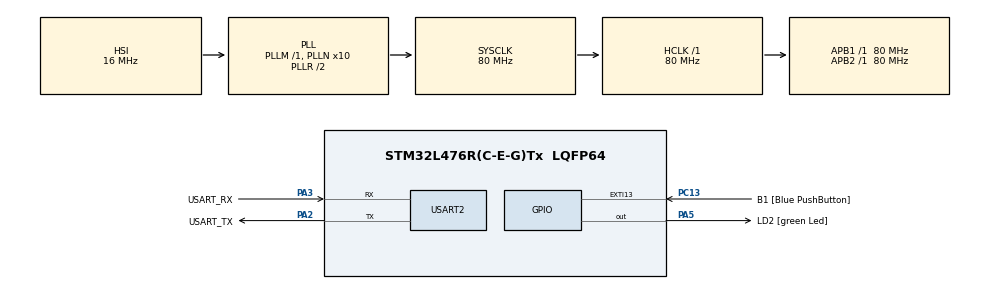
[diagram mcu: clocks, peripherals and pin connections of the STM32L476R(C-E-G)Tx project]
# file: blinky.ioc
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Mcu.Family=STM32L4
Mcu.Name=STM32L476R(C-E-G)Tx
Mcu.Package=LQFP64
NVIC.PriorityGroup=NVIC_PRIORITYGROUP_4
PA13\ (JTMS-SWDIO).GPIO_Label=TMS
PA13\ (JTMS-SWDIO).Mode=Serial_Wire
PA13\ (JTMS-SWDIO).Signal=SYS_JTMS-SWDIO
PA14\ (JTCK-SWCLK).GPIO_Label=TCK
PA14\ (JTCK-SWCLK).Mode=Serial_Wire
PA14\ (JTCK-SWCLK).Signal=SYS_JTCK-SWCLK
PA2.GPIO_Label=USART_TX
PA2.GPIO_Mode=GPIO_MODE_AF_PP
PA2.GPIO_PuPd=GPIO_NOPULL
PA2.GPIO_Speed=GPIO_SPEED_FREQ_VERY_HIGH
PA2.Mode=Asynchronous
PA2.Signal=USART2_TX
PA3.GPIO_Label=USART_RX
PA3.GPIO_Mode=GPIO_MODE_AF_PP
PA3.GPIO_PuPd=GPIO_NOPULL
PA3.GPIO_Speed=GPIO_SPEED_FREQ_VERY_HIGH
PA3.Mode=Asynchronous
PA3.Signal=USART2_RX
PA5.GPIO_Label=LD2 [green Led]
PA5.GPIO_ModeDefaultOutputPP=GPIO_MODE_OUTPUT_PP
PA5.GPIO_PuPd=GPIO_NOPULL
PA5.GPIO_Speed=GPIO_SPEED_FREQ_LOW
PA5.Signal=GPIO_Output
PB3\ (JTDO-TRACESWO).GPIO_Label=SWO
PB3\ (JTDO-TRACESWO).Signal=SYS_JTDO-SWO
PC13.GPIO_Label=B1 [Blue PushButton]
PC13.GPIO_ModeDefaultEXTI=GPIO_MODE_IT_FALLING
PC13.GPIO_PuPd=GPIO_NOPULL
PC13.Signal=GPXTI13
PC14-OSC32_IN\ (PC14).Mode=LSE-External-Oscillator
PC14-OSC32_IN\ (PC14).Signal=RCC_OSC32_IN
PC15-OSC32_OUT\ (PC15).Mode=LSE-External-Oscillator
PC15-OSC32_OUT\ (PC15).Signal=RCC_OSC32_OUT
PH0-OSC_IN\ (PH0).Signal=RCC_OSC_IN
PH1-OSC_OUT\ (PH1).Signal=RCC_OSC_OUT
ProjectManager.HeapSize=0x200
ProjectManager.StackSize=0x400
ProjectManager.TargetToolchain=Makefile
RCC.ADCFreq_Value=64000000
RCC.AHBFreq_Value=80000000
RCC.APB1Freq_Value=80000000
RCC.APB1TimFreq_Value=80000000
RCC.APB2Freq_Value=80000000
RCC.APB2TimFreq_Value=80000000
RCC.CortexFreq_Value=80000000
RCC.HCLKFreq_Value=80000000
RCC.HSE_VALUE=8000000
RCC.HSI_VALUE=16000000
RCC.MSI_VALUE=4000000
RCC.PLLN=10
RCC.PLLSourceVirtual=RCC_PLLSOURCE_HSI
RCC.PREFETCH_ENABLE=1
RCC.SYSCLKFreq_VALUE=80000000
RCC.SYSCLKSource=RCC_SYSCLKSOURCE_PLLCLK
RCC.USBFreq_Value=64000000
RCC.VCOOutputFreq_Value=160000000
USART2.VirtualMode-Asynchronous=VM_ASYNC
board=NUCLEO-L476RG

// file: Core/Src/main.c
/* USER CODE BEGIN Header */
/**
 ******************************************************************************
 * @file           : main.c
 * @brief          : Main program body
 ******************************************************************************
 * @attention
 *
 * Copyright (c) 2024 STMicroelectronics.
 * All rights reserved.
 *
 * This software is licensed under terms that can be found in the LICENSE file
 * in the root directory of this software component.
 * If no LICENSE file comes with this software, it is provided AS-IS.
 *
 ******************************************************************************
 */
/* USER CODE END Header */
#include "main.h"
#include "usart.h"
#include "gpio.h"

/* USER CODE BEGIN Includes */
#include <stdio.h>
#include <math.h>
#include <stdint.h>
#include <string.h>
#include <stdlib.h>
/* USER CODE END Includes */

/* USER CODE BEGIN PV */
char memory2_area[53] __attribute__((section(".ram2"))); // For linker and libc test
extern char __ram2_start[];
extern char __ram2_end[];
extern char __ram2_size[];

/* USER CODE END PV */

void SystemClock_Config(void);

/* USER CODE BEGIN 0 */
extern void zigEntrypoint(void);
extern void SystemInit(void);

// Picolibc will call _init before entering in main
#ifdef _HAVE_INIT_FINI
// FIXME: If you use crt0-minimal.o, this function will not be called.
void _init(void)
{
    // CMSIS System Initialization
    SystemInit();
    // Initialize to 0 the second ram memory area
    memset(__ram2_start, '\0', (uintptr_t)__ram2_size);
}
#else
#error "CMSIS System Initialization will not be called"
#endif
/* USER CODE END 0 */

int main(void)
{
    /* USER CODE BEGIN 1 */

    // math test
    volatile float a  = sinf(55);
    volatile double b = sin(55);
    // Formatting test
    snprintf(memory2_area, sizeof(memory2_area), "%f,%f", a, b);
    //
    const unsigned int malloc_size = 50;
    char* malloc_test              = (char*)malloc(malloc_size);
    snprintf(malloc_test, malloc_size, "ptr: %u, size:%d", malloc_size, (uintptr_t)malloc_test);
    printf("%s", malloc_test);

    /* USER CODE END 1 */

    /* MCU Configuration--------------------------------------------------------*/

    /* Reset of all peripherals, Initializes the Flash interface and the Systick. */
    HAL_Init();

    /* Configure the system clock */
    SystemClock_Config();

    /* Initialize all configured peripherals */
    MX_GPIO_Init();
    MX_USART2_UART_Init();
    /* USER CODE BEGIN 2 */
    zigEntrypoint();
    /* USER CODE END 2 */

    /* Infinite loop */
    while (1)
    {

    }
}

void SystemClock_Config(void)
{
    RCC_OscInitTypeDef RCC_OscInitStruct = {0};
    RCC_ClkInitTypeDef RCC_ClkInitStruct = {0};

    /** Configure the main internal regulator output voltage
     */
    if (HAL_PWREx_ControlVoltageScaling(PWR_REGULATOR_VOLTAGE_SCALE1) != HAL_OK)
    {
        Error_Handler();
    }

    /** Initializes the RCC Oscillators according to the specified parameters
     * in the RCC_OscInitTypeDef structure.
     */
    RCC_OscInitStruct.OscillatorType      = RCC_OSCILLATORTYPE_HSI;
    RCC_OscInitStruct.HSIState            = RCC_HSI_ON;
    RCC_OscInitStruct.HSICalibrationValue = RCC_HSICALIBRATION_DEFAULT;
    RCC_OscInitStruct.PLL.PLLState        = RCC_PLL_ON;
    RCC_OscInitStruct.PLL.PLLSource       = RCC_PLLSOURCE_HSI;
    RCC_OscInitStruct.PLL.PLLM            = 1;
    RCC_OscInitStruct.PLL.PLLN            = 10;
    RCC_OscInitStruct.PLL.PLLP            = RCC_PLLP_DIV7;
    RCC_OscInitStruct.PLL.PLLQ            = RCC_PLLQ_DIV2;
    RCC_OscInitStruct.PLL.PLLR            = RCC_PLLR_DIV2;
    if (HAL_RCC_OscConfig(&RCC_OscInitStruct) != HAL_OK)
    {
        Error_Handler();
    }

    /** Initializes the CPU, AHB and APB buses clocks
     */
    RCC_ClkInitStruct.ClockType = RCC_CLOCKTYPE_HCLK | RCC_CLOCKTYPE_SYSCLK | RCC_CLOCKTYPE_PCLK1 | RCC_CLOCKTYPE_PCLK2;
    RCC_ClkInitStruct.SYSCLKSource   = RCC_SYSCLKSOURCE_PLLCLK;
    RCC_ClkInitStruct.AHBCLKDivider  = RCC_SYSCLK_DIV1;
    RCC_ClkInitStruct.APB1CLKDivider = RCC_HCLK_DIV1;
    RCC_ClkInitStruct.APB2CLKDivider = RCC_HCLK_DIV1;

    if (HAL_RCC_ClockConfig(&RCC_ClkInitStruct, FLASH_LATENCY_4) != HAL_OK)
    {
        Error_Handler();
    }
}

void Error_Handler(void)
{
    __disable_irq();
    while (1)
    {
    }
}
